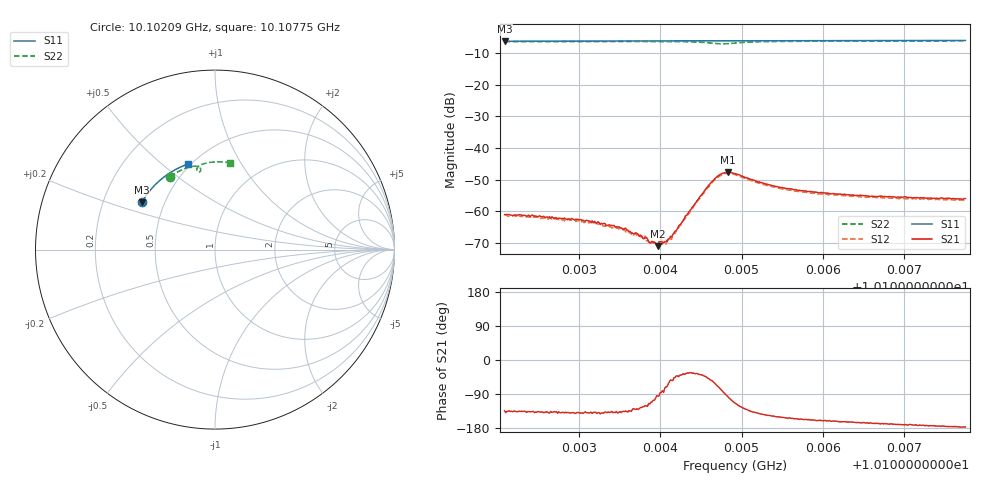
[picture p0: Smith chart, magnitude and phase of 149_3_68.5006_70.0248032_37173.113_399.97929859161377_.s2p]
#  HZ  S  RI  R  50.00
! Rohde & Schwarz Vector Network Analyzer
! Rohde-Schwarz,ZNB20-2Port,1311601062101988,3.16
! Created: UTC 3/20/2024, 4:55:13 PM
! freq[Hz]  re:S11  im:S11  re:S21  im:S21  re:S12  im:S12  re:S22  im:S22
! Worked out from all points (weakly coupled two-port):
!   401 points, 10.10209 GHz to 10.10775 GHz, reference 50 ohm
!   highest |S21| = -47.64 dB at 10.10483 GHz (marker M1); lowest = -71.0 dB at 10.10397 GHz (marker M2)
!   lowest |S11| = -6.3 dB at 10.10209 GHz (marker M3), VSWR 2.89, Z = 18.6 + j12.8 ohm
!   |S11| at or under -10 dB: nowhere
!   |S22| runs from -7.1 to -6.2 dB; largest |S21 - S12| = 0.00042
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1.0102085e10  -0.4081 0.2629  -0.000622 -0.000639  -0.000557 -0.000668  -0.25 0.4072
1.010244e10  -0.397 0.2815  -0.00061 -0.000593  -0.000558 -0.000582  -0.2306 0.4198
1.0102865e10  -0.3826 0.3029  -0.000569 -0.00051  -0.000519 -0.000528  -0.2062 0.4337
1.0103035e10  -0.3765 0.3112  -0.000547 -0.000471  -0.000482 -0.000492  -0.1961 0.4386
1.0103233e10  -0.369 0.3209  -0.000517 -0.000448  -0.000452 -0.00044  -0.1839 0.4443
1.0103531e10  -0.3575 0.335  -0.000389 -0.000373  -0.000329 -0.000391  -0.1652 0.4521
1.0103786e10  -0.3473 0.3465  -0.000205 -0.000313  -0.000171 -0.000328  -0.1479 0.4582
1.0103857e10  -0.3443 0.3496  -0.000143 -0.000305  -0.000104 -0.000317  -0.143 0.4596
1.010397e10  -0.3397 0.3548  -2.48e-05 -0.000281  -8.34e-07 -0.000312  -0.1346 0.4619
1.0103984e10  -0.339 0.3553  -2.99e-05 -0.00033  1.54e-05 -0.0003  -0.1336 0.4621
1.0104055e10  -0.3361 0.3583  8.71e-05 -0.000313  0.000114 -0.000289  -0.1282 0.4633
1.010414e10  -0.3324 0.3621  0.000235 -0.000318  0.00023 -0.000281  -0.1213 0.4644
1.0104494e10  -0.3169 0.3769  0.00137 -0.00109  0.0014 -0.000906  -0.0887 0.4596
1.0104665e10  -0.3091 0.3836  0.0016 -0.00278  0.00176 -0.00255  -0.0791 0.4425
1.010475e10  -0.3052 0.3868  0.000784 -0.00382  0.00109 -0.00359  -0.0852 0.4338
1.0104835e10  -0.3014 0.3902  -0.000549 -0.00411  -0.000204 -0.00397  -0.0956 0.4346
1.010492e10  -0.2974 0.3935  -0.00159 -0.00362  -0.00122 -0.00358  -0.1011 0.4433
1.0105161e10  -0.2863 0.4027  -0.00228 -0.00207  -0.00201 -0.00216  -0.0903 0.4655
1.0105402e10  -0.2746 0.4117  -0.00213 -0.00133  -0.00192 -0.00147  -0.072 0.4756
1.0105869e10  -0.2512 0.4276  -0.00189 -0.000765  -0.00175 -0.000906  -0.0382 0.4842
1.0106819e10  -0.201 0.4558  -0.00169 -0.000315  -0.00156 -0.000462  0.0255 0.4891
1.0107754e10  -0.1487 0.4774  -0.00159 -9.56e-05  -0.00149 -0.000234  0.086 0.4844
